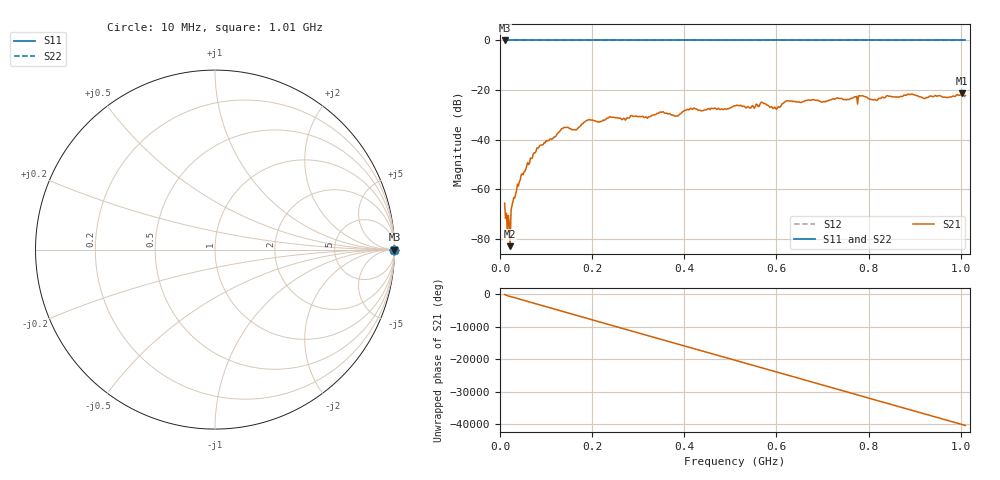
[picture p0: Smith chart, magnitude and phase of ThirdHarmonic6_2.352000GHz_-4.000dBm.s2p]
! 8/17/2025 3:32:59 AM
! C:\ANRITSUVNA\TEMP\TEMP.S2P
! CHANNEL.1
! TR.MEASUREMENT
! RAW.DATA
! RF.CORRECTION.OFF
! AVERAGING.OFF
! IF.BANDWIDTH: 5KHZ
! SWEEPTYPE:  FREQ.SWEEP(Linear)
! Reference Plane Port Info
! PORT:  PORT1  PORT2
! DISTANCE:  0  m  0  m
! TIME:  0  s  0  s
! PHASE.OFFSET:  0  deg.  0  deg.
! LOSS:  0  dB  0  dB
! REF.LOSS:  0  dB  0  dB
! REF.FREQ:  0  Hz  0  Hz
! Power Info
! POWER:  -20  dBm  -20  dBm
! EFF.POWER:  -20  dBm  -20  dBm
! SOURCE.ATTEN:  0  dB  0  dB
! TEST.ATTEN:  0  dB  0  dB
# GHZ S RI R 50.0
! FREQ.GHZ  S11RE  S11IM  S21RE  S21IM  S12RE  S12IM  S22RE  S22IM
!; PortSelection: Port_12
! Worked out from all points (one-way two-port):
!   501 points, 10 MHz to 1.01 GHz, reference 50 ohm
!   highest |S21| = -21.33 dB at 1.002 GHz (marker M1); lowest = -83.1 dB at 22 MHz (marker M2)
!   lowest |S11| = 0.0 dB at 10 MHz (marker M3)
!   |S11| at or under -10 dB: nowhere
!   |S22| runs from 0.0 to 0.0 dB; largest |S21 - S12| = 1.1
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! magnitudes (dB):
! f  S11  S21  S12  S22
! 10 MHz  0.0  -65.7  0.0  0.0
! 18 MHz  0.0  -70.7  0.0  0.0
! 22 MHz  0.0  -83.1  0.0  0.0
! 28 MHz  0.0  -65.2  0.0  0.0
! 42 MHz  0.0  -57.1  0.0  0.0
! 84 MHz  0.0  -43.3  0.0  0.0
! 138 MHz  0.0  -35.3  0.0  0.0
! 162 MHz  0.0  -36.0  0.0  0.0
! 178 MHz  0.0  -33.7  0.0  0.0
! 192 MHz  0.0  -32.0  0.0  0.0
! 316 MHz  0.0  -30.8  0.0  0.0
! 344 MHz  0.0  -29.4  0.0  0.0
! 382 MHz  0.0  -30.5  0.0  0.0
! 410 MHz  0.0  -28.0  0.0  0.0
! 510 MHz  0.0  -26.4  0.0  0.0
! 570 MHz  0.0  -25.1  0.0  0.0
! 598 MHz  0.0  -27.3  0.0  0.0
! 622 MHz  0.0  -24.5  0.0  0.0
! 678 MHz  0.0  -24.0  0.0  0.0
! 844 MHz  0.0  -22.6  0.0  0.0
! 1.002 GHz  0.0  -21.3  0.0  0.0
! 1.01 GHz  0.0  -22.2  0.0  0.0
